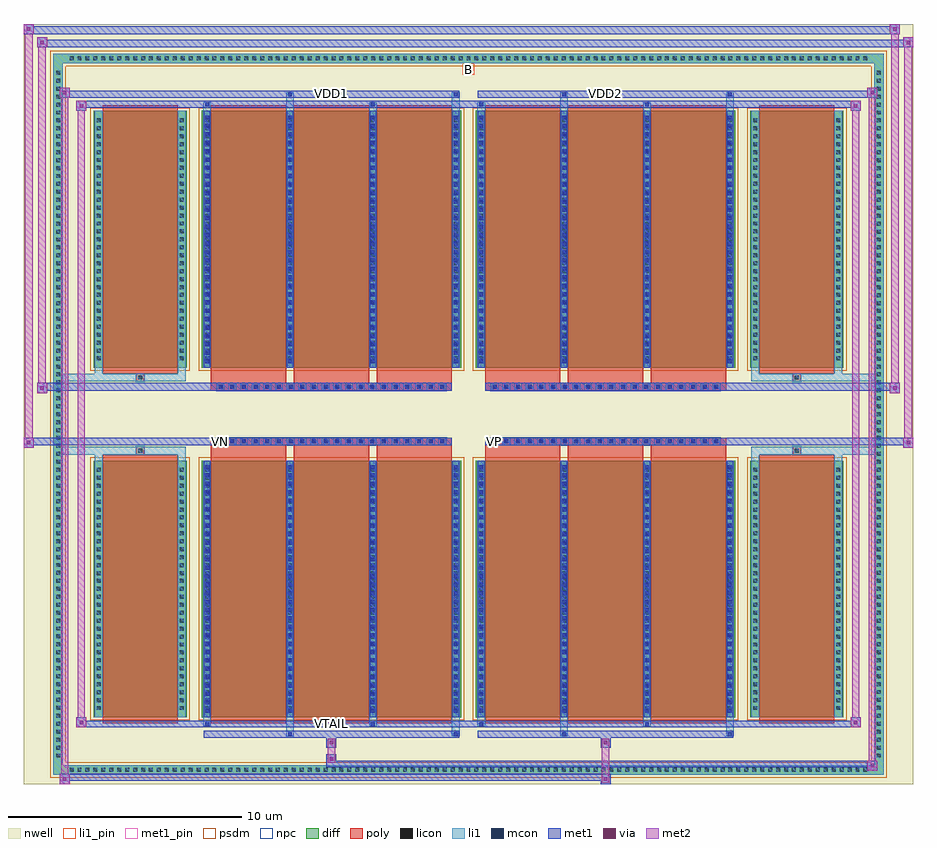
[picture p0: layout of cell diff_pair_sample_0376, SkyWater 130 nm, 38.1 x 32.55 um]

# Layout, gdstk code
import gdstk
lib = gdstk.Library(unit=1e-6, precision=5e-09)
def R(c, l, rs):  # rectangles x0, y0, x1, y1
    for r in rs: c.add(gdstk.rectangle(r[:2], r[2:], *l))
def A(c, l, x, y, w, h, nx, ny, dx, dy):  # array of equal rectangles
    R(c, l, [(x+i*dx, y+j*dy, x+i*dx+w, y+j*dy+h) for i in range(nx) for j in range(ny)])
def P(c, l, *ps):  # polygons
    for p in ps: c.add(gdstk.Polygon(p, *l))
nwell = (64, 20)
diff = (65, 20)
poly = (66, 20)
licon = (66, 44)
li1_pin = (67, 16)
li1 = (67, 20)
mcon = (67, 44)
met1_pin = (68, 16)
met1 = (68, 20)
via = (68, 44)
met2 = (69, 20)
psdm = (94, 20)
npc = (95, 20)

diff_pair_sample_0376 = lib.new_cell('diff_pair_sample_0376')
R(diff_pair_sample_0376, nwell, [(-19.05,-15.84,19.05,16.71), (-16.37,-14.03,-0.01,-0.805), (0.01,-14.03,16.37,-0.805), (-16.37,0.805,-0.01,14.03), (0.01,0.805,16.37,14.03)])
A(diff_pair_sample_0376, diff, -17.205, -15.44, 0.41, 0.41, 101, 2, 0.34, 30.47)
A(diff_pair_sample_0376, diff, -17.78, -14.825, 0.41, 0.41, 1, 87, 0, 0.34)
A(diff_pair_sample_0376, diff, 17.37, -14.825, 0.41, 0.41, 1, 87, 0, 0.34)
R(diff_pair_sample_0376, diff, [(-17.205,-15.44,17.205,-15.03), (-17.78,-14.825,-17.37,14.825), (17.37,-14.825,17.78,14.825), (-16.06,-12.985,-12.06,-1.985), (-11.42,-12.985,-0.32,-1.985), (0.32,-12.985,11.42,-1.985), (12.06,-12.985,16.06,-1.985), (-16.06,1.985,-12.06,12.985), (-11.42,1.985,-0.32,12.985), (0.32,1.985,11.42,12.985), (12.06,1.985,16.06,12.985), (-17.205,15.03,17.205,15.44)])
P(diff_pair_sample_0376, diff, [(17.78,15.44),(-17.78,15.44),(-17.78,-15.03),(-17.37,-15.03),(-17.37,15.03),(17.37,15.03),(17.37,-15.03),(-17.37,-15.03),(-17.78,-15.03),(-17.78,-15.44),(17.78,-15.44)])
A(diff_pair_sample_0376, poly, -11.03, -13.235, 3.22, 11.5, 3, 2, 3.55, 14.97)
A(diff_pair_sample_0376, poly, 0.71, -13.235, 3.22, 11.5, 3, 2, 3.55, 14.97)
A(diff_pair_sample_0376, poly, -11.03, -1.735, 3.22, 0.4, 3, 2, 3.55, 3.07)
A(diff_pair_sample_0376, poly, 0.71, -1.735, 3.22, 0.4, 3, 2, 3.55, 3.07)
A(diff_pair_sample_0376, poly, -10.785, -1.335, 0.33, 0.33, 20, 2, 0.5, 2.34)
A(diff_pair_sample_0376, poly, 0.955, -1.335, 0.33, 0.33, 20, 2, 0.5, 2.34)
R(diff_pair_sample_0376, poly, [(-15.67,-13.235,-12.45,-1.735), (12.45,-13.235,15.67,-1.735), (-14.225,-1.735,-13.895,-1.405), (-14.225,-1.735,-13.895,-1.405), (13.895,-1.735,14.225,-1.405), (13.895,-1.735,14.225,-1.405), (-11.03,-1.335,-0.71,-1.005), (0.71,-1.335,11.03,-1.005), (-11.03,1.005,-0.71,1.335), (0.71,1.005,11.03,1.335), (-14.225,1.405,-13.895,1.735), (-14.225,1.405,-13.895,1.735), (13.895,1.405,14.225,1.735), (13.895,1.405,14.225,1.735), (-15.67,1.735,-12.45,13.235), (12.45,1.735,15.67,13.235)])
A(diff_pair_sample_0376, licon, -17.085, -15.32, 0.17, 0.17, 101, 2, 0.34, 30.47)
A(diff_pair_sample_0376, licon, -17.66, -14.705, 0.17, 0.17, 1, 87, 0, 0.34)
A(diff_pair_sample_0376, licon, 17.49, -14.705, 0.17, 0.17, 1, 87, 0, 0.34)
A(diff_pair_sample_0376, licon, -15.92, -12.67, 0.17, 0.17, 1, 31, 0, 0.34)
A(diff_pair_sample_0376, licon, -12.37, -12.67, 0.17, 0.17, 1, 31, 0, 0.34)
A(diff_pair_sample_0376, licon, -11.28, -12.67, 0.17, 0.17, 4, 31, 3.55, 0.34)
A(diff_pair_sample_0376, licon, 0.46, -12.67, 0.17, 0.17, 4, 31, 3.55, 0.34)
A(diff_pair_sample_0376, licon, 12.2, -12.67, 0.17, 0.17, 1, 31, 0, 0.34)
A(diff_pair_sample_0376, licon, 15.75, -12.67, 0.17, 0.17, 1, 31, 0, 0.34)
A(diff_pair_sample_0376, licon, -10.705, -1.255, 0.17, 0.17, 20, 2, 0.5, 2.34)
A(diff_pair_sample_0376, licon, 1.035, -1.255, 0.17, 0.17, 20, 2, 0.5, 2.34)
A(diff_pair_sample_0376, licon, -15.92, 2.3, 0.17, 0.17, 1, 31, 0, 0.34)
A(diff_pair_sample_0376, licon, -12.37, 2.3, 0.17, 0.17, 1, 31, 0, 0.34)
A(diff_pair_sample_0376, licon, -11.28, 2.3, 0.17, 0.17, 4, 31, 3.55, 0.34)
A(diff_pair_sample_0376, licon, 0.46, 2.3, 0.17, 0.17, 4, 31, 3.55, 0.34)
A(diff_pair_sample_0376, licon, 12.2, 2.3, 0.17, 0.17, 1, 31, 0, 0.34)
A(diff_pair_sample_0376, licon, 15.75, 2.3, 0.17, 0.17, 1, 31, 0, 0.34)
R(diff_pair_sample_0376, licon, [(-14.145,-1.655,-13.975,-1.485), (13.975,-1.655,14.145,-1.485), (-14.145,1.485,-13.975,1.655), (13.975,1.485,14.145,1.655)])
R(diff_pair_sample_0376, li1_pin, [(-0.25,14.53,0.25,15.03)])
A(diff_pair_sample_0376, li1, -17.165, -15.4, 0.33, 0.33, 101, 2, 0.34, 30.47)
A(diff_pair_sample_0376, li1, -17.74, -14.785, 0.33, 0.33, 1, 87, 0, 0.34)
A(diff_pair_sample_0376, li1, 17.41, -14.785, 0.33, 0.33, 1, 87, 0, 0.34)
A(diff_pair_sample_0376, li1, -11.36, -12.985, 0.33, 11, 4, 2, 3.55, 14.97)
A(diff_pair_sample_0376, li1, 0.38, -12.985, 0.33, 11, 4, 2, 3.55, 14.97)
A(diff_pair_sample_0376, li1, -11.28, -12.79, 0.17, 0.17, 4, 30, 3.55, 0.36)
A(diff_pair_sample_0376, li1, -11.28, -12.79, 0.17, 10.61, 4, 2, 3.55, 14.97)
A(diff_pair_sample_0376, li1, 0.46, -12.79, 0.17, 0.17, 4, 30, 3.55, 0.36)
A(diff_pair_sample_0376, li1, 0.46, -12.79, 0.17, 10.61, 4, 2, 3.55, 14.97)
A(diff_pair_sample_0376, li1, -16, -12.75, 0.33, 0.33, 1, 31, 0, 0.34)
A(diff_pair_sample_0376, li1, -12.45, -12.75, 0.33, 0.33, 1, 31, 0, 0.34)
A(diff_pair_sample_0376, li1, -11.36, -12.75, 0.33, 0.33, 4, 31, 3.55, 0.34)
A(diff_pair_sample_0376, li1, 0.38, -12.75, 0.33, 0.33, 4, 31, 3.55, 0.34)
A(diff_pair_sample_0376, li1, 12.12, -12.75, 0.33, 0.33, 1, 31, 0, 0.34)
A(diff_pair_sample_0376, li1, 15.67, -12.75, 0.33, 0.33, 1, 31, 0, 0.34)
A(diff_pair_sample_0376, li1, -10.785, -1.335, 0.33, 0.33, 20, 2, 0.5, 2.34)
A(diff_pair_sample_0376, li1, 0.955, -1.335, 0.33, 0.33, 20, 2, 0.5, 2.34)
A(diff_pair_sample_0376, li1, -11.28, 2.18, 0.17, 0.17, 4, 30, 3.55, 0.36)
A(diff_pair_sample_0376, li1, 0.46, 2.18, 0.17, 0.17, 4, 30, 3.55, 0.36)
A(diff_pair_sample_0376, li1, -16, 2.22, 0.33, 0.33, 1, 31, 0, 0.34)
A(diff_pair_sample_0376, li1, -12.45, 2.22, 0.33, 0.33, 1, 31, 0, 0.34)
A(diff_pair_sample_0376, li1, -11.36, 2.22, 0.33, 0.33, 4, 31, 3.55, 0.34)
A(diff_pair_sample_0376, li1, 0.38, 2.22, 0.33, 0.33, 4, 31, 3.55, 0.34)
A(diff_pair_sample_0376, li1, 12.12, 2.22, 0.33, 0.33, 1, 31, 0, 0.34)
A(diff_pair_sample_0376, li1, 15.67, 2.22, 0.33, 0.33, 1, 31, 0, 0.34)
R(diff_pair_sample_0376, li1, [(-17.78,-15.44,-17.37,-15.03), (-17.78,-15.44,-17.37,-15.03), (-17.37,-15.44,17.37,-15.03), (17.37,-15.44,17.78,-15.03), (17.37,-15.44,17.78,-15.03), (-17.78,-15.03,-17.37,15.03), (17.37,-15.03,17.78,15.03), (-7.81,-13.79,-7.48,-12.985), (-7.73,-13.79,-7.56,-13.62), (-0.71,-13.79,-0.38,-12.985), (-0.63,-13.79,-0.46,-13.62), (3.93,-13.79,4.26,-12.985), (4.01,-13.79,4.18,-13.62), (11.03,-13.79,11.36,-12.985), (11.11,-13.79,11.28,-13.62), (-11.36,-13.36,-11.03,-12.985), (-11.28,-13.36,-11.11,-13.19), (-4.26,-13.36,-3.93,-12.985), (-4.18,-13.36,-4.01,-13.19), (0.38,-13.36,0.71,-12.985), (0.46,-13.36,0.63,-13.19), (7.48,-13.36,7.81,-12.985), (7.56,-13.36,7.73,-13.19), (-16,-12.985,-15.67,-1.985), (-12.45,-12.985,-12.12,-1.985), (12.12,-12.985,12.45,-1.985), (15.67,-12.985,16,-1.985), (-16,-1.985,-15.67,-1.405), (-12.45,-1.985,-12.12,-1.405), (12.12,-1.985,12.45,-1.405), (15.67,-1.985,16,-1.405), (-17.78,-1.735,-14.225,-1.405), (-16,-1.735,-14.225,-1.405), (-14.225,-1.735,-13.895,-1.405), (-13.895,-1.735,-12.12,-1.405), (12.12,-1.735,13.895,-1.405), (13.895,-1.735,14.225,-1.405), (13.895,-1.735,17.78,-1.405), (14.225,-1.735,16,-1.405), (-17.78,1.405,-14.225,1.735), (-16,1.405,-14.225,1.735), (-16,1.405,-15.67,1.985), (-14.225,1.405,-13.895,1.735), (-13.895,1.405,-12.12,1.735), (-12.45,1.405,-12.12,1.985), (12.12,1.405,13.895,1.735), (12.12,1.405,12.45,1.985), (13.895,1.405,14.225,1.735), (13.895,1.405,17.78,1.735), (14.225,1.405,16,1.735), (15.67,1.405,16,1.985), (-16,1.985,-15.67,12.985), (-12.45,1.985,-12.12,12.985), (12.12,1.985,12.45,12.985), (15.67,1.985,16,12.985), (-11.36,12.985,-11.03,13.36), (-7.81,12.985,-7.48,13.79), (-4.26,12.985,-3.93,13.36), (-0.71,12.985,-0.38,13.79), (0.38,12.985,0.71,13.36), (3.93,12.985,4.26,13.79), (7.48,12.985,7.81,13.36), (11.03,12.985,11.36,13.79), (-11.28,13.19,-11.11,13.36), (-4.18,13.19,-4.01,13.36), (0.46,13.19,0.63,13.36), (7.56,13.19,7.73,13.36), (-7.73,13.62,-7.56,13.79), (-0.63,13.62,-0.46,13.79), (4.01,13.62,4.18,13.79), (11.11,13.62,11.28,13.79), (-17.78,15.03,-17.37,15.44), (-17.78,15.03,-17.37,15.44), (-17.37,15.03,17.37,15.44), (17.37,15.03,17.78,15.44), (17.37,15.03,17.78,15.44)])
A(diff_pair_sample_0376, mcon, -11.28, -12.79, 0.17, 0.17, 4, 30, 3.55, 0.36)
A(diff_pair_sample_0376, mcon, 0.46, -12.79, 0.17, 0.17, 4, 30, 3.55, 0.36)
A(diff_pair_sample_0376, mcon, -10.705, -1.255, 0.17, 0.17, 20, 2, 0.5, 2.34)
A(diff_pair_sample_0376, mcon, 1.035, -1.255, 0.17, 0.17, 20, 2, 0.5, 2.34)
A(diff_pair_sample_0376, mcon, -11.28, 2.18, 0.17, 0.17, 4, 30, 3.55, 0.36)
A(diff_pair_sample_0376, mcon, 0.46, 2.18, 0.17, 0.17, 4, 30, 3.55, 0.36)
R(diff_pair_sample_0376, mcon, [(-7.73,-13.79,-7.56,-13.62), (-0.63,-13.79,-0.46,-13.62), (4.01,-13.79,4.18,-13.62), (11.11,-13.79,11.28,-13.62), (-11.28,-13.36,-11.11,-13.19), (-4.18,-13.36,-4.01,-13.19), (0.46,-13.36,0.63,-13.19), (7.56,-13.36,7.73,-13.19), (-11.28,13.19,-11.11,13.36), (-4.18,13.19,-4.01,13.36), (0.46,13.19,0.63,13.36), (7.56,13.19,7.73,13.36), (-7.73,13.62,-7.56,13.79), (-0.63,13.62,-0.46,13.79), (4.01,13.62,4.18,13.79), (11.11,13.62,11.28,13.79)])
R(diff_pair_sample_0376, met1_pin, [(-6.005,-13.4,-5.735,-13.13), (-10.755,-1.295,-10.485,-1.025), (0.985,-1.295,1.255,-1.025), (-6.005,13.58,-5.735,13.85), (5.735,13.58,6.005,13.85)])
A(diff_pair_sample_0376, met1, -11.34, -12.985, 0.29, 11, 4, 2, 3.55, 14.97)
A(diff_pair_sample_0376, met1, 0.4, -12.985, 0.29, 11, 4, 2, 3.55, 14.97)
A(diff_pair_sample_0376, met1, -11.34, -12.85, 0.29, 0.29, 4, 30, 3.55, 0.36)
A(diff_pair_sample_0376, met1, 0.4, -12.85, 0.29, 0.29, 4, 30, 3.55, 0.36)
A(diff_pair_sample_0376, met1, -10.765, -1.315, 0.29, 0.29, 20, 2, 0.5, 2.34)
A(diff_pair_sample_0376, met1, 0.975, -1.315, 0.29, 0.29, 20, 2, 0.5, 2.34)
A(diff_pair_sample_0376, met1, -11.34, 2.12, 0.29, 0.29, 4, 30, 3.55, 0.36)
A(diff_pair_sample_0376, met1, 0.4, 2.12, 0.29, 0.29, 4, 30, 3.55, 0.36)
R(diff_pair_sample_0376, met1, [(-17.51,-15.84,-17.08,-15.41), (5.655,-15.84,6.085,-15.41), (-17.51,-15.7,6.085,-15.41), (17.08,-15.27,17.51,-14.84), (-6.085,-15.13,17.51,-14.84), (-6.085,-14.99,-5.655,-14.56), (-6.085,-14.28,-5.655,-13.85), (5.655,-14.28,6.085,-13.85), (-11.34,-13.85,-0.4,-13.56), (-7.79,-13.85,-7.5,-13.56), (-0.69,-13.85,-0.4,-13.56), (0.4,-13.85,11.34,-13.56), (3.95,-13.85,4.24,-13.56), (11.05,-13.85,11.34,-13.56), (-16.8,-13.42,-16.37,-12.99), (-16.8,-13.42,-11.34,-13.13), (-11.34,-13.42,-11.05,-13.13), (-11.34,-13.42,-0.4,-13.13), (-4.24,-13.42,-3.95,-13.13), (-0.4,-13.42,0.4,-13.13), (0.4,-13.42,0.69,-13.13), (0.4,-13.42,11.34,-13.13), (7.5,-13.42,7.79,-13.13), (11.34,-13.42,16.8,-13.13), (16.37,-13.42,16.8,-12.99), (-19.05,-1.435,-18.62,-1.005), (18.62,-1.435,19.05,-1.005), (-19.05,-1.335,-0.71,-1.005), (-11.03,-1.335,-0.71,-1.005), (0.71,-1.335,11.03,-1.005), (0.71,-1.335,19.05,-1.005), (-18.48,0.905,-18.05,1.335), (18.05,0.905,18.48,1.335), (-18.48,1.005,-11.03,1.335), (-11.03,1.005,-0.71,1.335), (0.71,1.005,11.03,1.335), (11.03,1.005,18.48,1.335), (-16.8,12.99,-16.37,13.42), (16.37,12.99,16.8,13.42), (-16.8,13.13,-11.34,13.42), (-11.34,13.13,-11.05,13.42), (-11.34,13.13,-0.4,13.42), (-4.24,13.13,-3.95,13.42), (-0.4,13.13,0.4,13.42), (0.4,13.13,0.69,13.42), (0.4,13.13,11.34,13.42), (7.5,13.13,7.79,13.42), (11.34,13.13,16.8,13.42), (-17.51,13.56,-17.08,13.99), (-17.51,13.56,-11.34,13.85), (-11.34,13.56,-0.4,13.85), (-7.79,13.56,-7.5,13.85), (-0.69,13.56,-0.4,13.85), (0.4,13.56,11.34,13.85), (3.95,13.56,4.24,13.85), (11.05,13.56,11.34,13.85), (11.34,13.56,17.51,13.85), (17.08,13.56,17.51,13.99), (-18.48,15.71,-18.05,16.14), (-18.48,15.71,-16.37,16.04), (-16.37,15.71,16.37,16.04), (16.37,15.71,19.05,16.04), (18.62,15.71,19.05,16.14), (-19.05,16.28,-18.62,16.71), (-19.05,16.28,-16.37,16.61), (-16.37,16.28,16.37,16.61), (16.37,16.28,18.48,16.61), (18.05,16.28,18.48,16.71)])
R(diff_pair_sample_0376, via, [(-17.37,-15.7,-17.22,-15.55), (5.795,-15.7,5.945,-15.55), (17.22,-15.13,17.37,-14.98), (-5.945,-14.85,-5.795,-14.7), (-5.945,-14.14,-5.795,-13.99), (5.795,-14.14,5.945,-13.99), (-16.66,-13.28,-16.51,-13.13), (16.51,-13.28,16.66,-13.13), (-18.91,-1.295,-18.76,-1.145), (18.76,-1.295,18.91,-1.145), (-18.34,1.045,-18.19,1.195), (18.19,1.045,18.34,1.195), (-16.66,13.13,-16.51,13.28), (16.51,13.13,16.66,13.28), (-17.37,13.7,-17.22,13.85), (17.22,13.7,17.37,13.85), (-18.34,15.85,-18.19,16), (18.76,15.85,18.91,16), (-18.91,16.42,-18.76,16.57), (18.19,16.42,18.34,16.57)])
R(diff_pair_sample_0376, met2, [(-17.51,-15.84,-17.08,-15.41), (-17.44,-15.84,-17.15,13.99), (-17.15,-15.84,-17.08,-15.41), (-17.46,-15.79,-17.13,-15.46), (5.705,-15.79,6.035,-15.46), (5.705,-15.46,6.035,-14.23), (17.08,-15.27,17.51,-14.84), (17.15,-15.27,17.44,13.99), (17.44,-15.27,17.51,-14.84), (17.13,-15.22,17.46,-14.89), (-6.035,-14.94,-5.705,-14.61), (-6.035,-14.61,-5.705,-14.23), (-6.035,-14.23,-5.705,-13.9), (5.705,-14.23,6.035,-13.9), (-16.8,-13.42,-16.37,-12.99), (-16.73,-13.42,-16.44,13.42), (-16.44,-13.42,-16.37,-12.99), (16.37,-13.42,16.8,-12.99), (16.44,-13.42,16.73,13.42), (16.73,-13.42,16.8,-12.99), (-16.75,-13.37,-16.42,-13.04), (16.42,-13.37,16.75,-13.04), (-19.05,-1.435,-18.62,-1.005), (-19,-1.435,-18.67,16.71), (-18.67,-1.435,-18.62,-1.005), (18.62,-1.435,19.05,-1.005), (18.67,-1.435,19,16.14), (19,-1.435,19.05,-1.005), (-19,-1.385,-18.67,-1.055), (18.67,-1.385,19,-1.055), (-18.48,0.905,-18.05,1.335), (-18.43,0.905,-18.1,16.14), (-18.1,0.905,-18.05,1.335), (18.05,0.905,18.48,1.335), (18.1,0.905,18.43,16.71), (18.43,0.905,18.48,1.335), (-18.43,0.955,-18.1,1.285), (18.1,0.955,18.43,1.285), (-16.8,12.99,-16.37,13.42), (-16.44,12.99,-16.37,13.42), (16.37,12.99,16.8,13.42), (16.73,12.99,16.8,13.42), (-16.75,13.04,-16.42,13.37), (16.42,13.04,16.75,13.37), (-17.51,13.56,-17.08,13.99), (-17.15,13.56,-17.08,13.99), (17.08,13.56,17.51,13.99), (17.44,13.56,17.51,13.99), (-17.46,13.61,-17.13,13.94), (17.13,13.61,17.46,13.94), (-18.48,15.71,-18.05,16.14), (-18.1,15.71,-18.05,16.14), (18.62,15.71,19.05,16.14), (19,15.71,19.05,16.14), (-18.43,15.76,-18.1,16.09), (18.67,15.76,19,16.09), (-19.05,16.28,-18.62,16.71), (-18.67,16.28,-18.62,16.71), (18.05,16.28,18.48,16.71), (18.43,16.28,18.48,16.71), (-19,16.33,-18.67,16.66), (18.1,16.33,18.43,16.66)])
R(diff_pair_sample_0376, psdm, [(-16.19,-13.115,-11.93,-1.855), (-11.55,-13.115,-0.19,-1.855), (0.19,-13.115,11.55,-1.855), (11.93,-13.115,16.19,-1.855), (-16.19,1.855,-11.93,13.115), (-11.55,1.855,-0.19,13.115), (0.19,1.855,11.55,13.115), (11.93,1.855,16.19,13.115)])
P(diff_pair_sample_0376, psdm, [(17.91,15.57),(-17.91,15.57),(-17.91,-14.9),(-17.24,-14.9),(-17.24,14.9),(17.24,14.9),(17.24,-14.9),(-17.24,-14.9),(-17.91,-14.9),(-17.91,-15.57),(17.91,-15.57)])
A(diff_pair_sample_0376, npc, -10.805, -1.355, 0.37, 0.37, 20, 2, 0.5, 2.34)
A(diff_pair_sample_0376, npc, 0.935, -1.355, 0.37, 0.37, 20, 2, 0.5, 2.34)
R(diff_pair_sample_0376, npc, [(-14.245,-1.755,-13.875,-1.385), (13.875,-1.755,14.245,-1.385), (-10.805,-1.355,-9.935,-0.985), (-10.805,-1.355,-9.935,-0.985), (-10.305,-1.355,-9.435,-0.985), (-10.305,-1.355,-9.435,-0.985), (-9.805,-1.355,-8.935,-0.985), (-9.805,-1.355,-8.935,-0.985), (-9.305,-1.355,-8.435,-0.985), (-9.305,-1.355,-8.435,-0.985), (-8.805,-1.355,-7.935,-0.985), (-8.805,-1.355,-7.935,-0.985), (-8.305,-1.355,-7.435,-0.985), (-8.305,-1.355,-7.435,-0.985), (-7.805,-1.355,-6.935,-0.985), (-7.805,-1.355,-6.935,-0.985), (-7.305,-1.355,-6.435,-0.985), (-7.305,-1.355,-6.435,-0.985), (-6.805,-1.355,-5.935,-0.985), (-6.805,-1.355,-5.935,-0.985), (-6.305,-1.355,-5.435,-0.985), (-6.305,-1.355,-5.435,-0.985), (-5.805,-1.355,-4.935,-0.985), (-5.805,-1.355,-4.935,-0.985), (-5.305,-1.355,-4.435,-0.985), (-5.305,-1.355,-4.435,-0.985), (-4.805,-1.355,-3.935,-0.985), (-4.805,-1.355,-3.935,-0.985), (-4.305,-1.355,-3.435,-0.985), (-4.305,-1.355,-3.435,-0.985), (-3.805,-1.355,-2.935,-0.985), (-3.805,-1.355,-2.935,-0.985), (-3.305,-1.355,-2.435,-0.985), (-3.305,-1.355,-2.435,-0.985), (-2.805,-1.355,-1.935,-0.985), (-2.805,-1.355,-1.935,-0.985), (-2.305,-1.355,-1.435,-0.985), (-2.305,-1.355,-1.435,-0.985), (-1.805,-1.355,-0.935,-0.985), (-1.805,-1.355,-0.935,-0.985), (0.935,-1.355,1.805,-0.985), (0.935,-1.355,1.805,-0.985), (1.435,-1.355,2.305,-0.985), (1.435,-1.355,2.305,-0.985), (1.935,-1.355,2.805,-0.985), (1.935,-1.355,2.805,-0.985), (2.435,-1.355,3.305,-0.985), (2.435,-1.355,3.305,-0.985), (2.935,-1.355,3.805,-0.985), (2.935,-1.355,3.805,-0.985), (3.435,-1.355,4.305,-0.985), (3.435,-1.355,4.305,-0.985), (3.935,-1.355,4.805,-0.985), (3.935,-1.355,4.805,-0.985), (4.435,-1.355,5.305,-0.985), (4.435,-1.355,5.305,-0.985), (4.935,-1.355,5.805,-0.985), (4.935,-1.355,5.805,-0.985), (5.435,-1.355,6.305,-0.985), (5.435,-1.355,6.305,-0.985), (5.935,-1.355,6.805,-0.985), (5.935,-1.355,6.805,-0.985), (6.435,-1.355,7.305,-0.985), (6.435,-1.355,7.305,-0.985), (6.935,-1.355,7.805,-0.985), (6.935,-1.355,7.805,-0.985), (7.435,-1.355,8.305,-0.985), (7.435,-1.355,8.305,-0.985), (7.935,-1.355,8.805,-0.985), (7.935,-1.355,8.805,-0.985), (8.435,-1.355,9.305,-0.985), (8.435,-1.355,9.305,-0.985), (8.935,-1.355,9.805,-0.985), (8.935,-1.355,9.805,-0.985), (9.435,-1.355,10.305,-0.985), (9.435,-1.355,10.305,-0.985), (9.935,-1.355,10.805,-0.985), (9.935,-1.355,10.805,-0.985), (-10.805,0.985,-9.935,1.355), (-10.805,0.985,-9.935,1.355), (-10.305,0.985,-9.435,1.355), (-10.305,0.985,-9.435,1.355), (-9.805,0.985,-8.935,1.355), (-9.805,0.985,-8.935,1.355), (-9.305,0.985,-8.435,1.355), (-9.305,0.985,-8.435,1.355), (-8.805,0.985,-7.935,1.355), (-8.805,0.985,-7.935,1.355), (-8.305,0.985,-7.435,1.355), (-8.305,0.985,-7.435,1.355), (-7.805,0.985,-6.935,1.355), (-7.805,0.985,-6.935,1.355), (-7.305,0.985,-6.435,1.355), (-7.305,0.985,-6.435,1.355), (-6.805,0.985,-5.935,1.355), (-6.805,0.985,-5.935,1.355), (-6.305,0.985,-5.435,1.355), (-6.305,0.985,-5.435,1.355), (-5.805,0.985,-4.935,1.355), (-5.805,0.985,-4.935,1.355), (-5.305,0.985,-4.435,1.355), (-5.305,0.985,-4.435,1.355), (-4.805,0.985,-3.935,1.355), (-4.805,0.985,-3.935,1.355), (-4.305,0.985,-3.435,1.355), (-4.305,0.985,-3.435,1.355), (-3.805,0.985,-2.935,1.355), (-3.805,0.985,-2.935,1.355), (-3.305,0.985,-2.435,1.355), (-3.305,0.985,-2.435,1.355), (-2.805,0.985,-1.935,1.355), (-2.805,0.985,-1.935,1.355), (-2.305,0.985,-1.435,1.355), (-2.305,0.985,-1.435,1.355), (-1.805,0.985,-0.935,1.355), (-1.805,0.985,-0.935,1.355), (0.935,0.985,1.805,1.355), (0.935,0.985,1.805,1.355), (1.435,0.985,2.305,1.355), (1.435,0.985,2.305,1.355), (1.935,0.985,2.805,1.355), (1.935,0.985,2.805,1.355), (2.435,0.985,3.305,1.355), (2.435,0.985,3.305,1.355), (2.935,0.985,3.805,1.355), (2.935,0.985,3.805,1.355), (3.435,0.985,4.305,1.355), (3.435,0.985,4.305,1.355), (3.935,0.985,4.805,1.355), (3.935,0.985,4.805,1.355), (4.435,0.985,5.305,1.355), (4.435,0.985,5.305,1.355), (4.935,0.985,5.805,1.355), (4.935,0.985,5.805,1.355), (5.435,0.985,6.305,1.355), (5.435,0.985,6.305,1.355), (5.935,0.985,6.805,1.355), (5.935,0.985,6.805,1.355), (6.435,0.985,7.305,1.355), (6.435,0.985,7.305,1.355), (6.935,0.985,7.805,1.355), (6.935,0.985,7.805,1.355), (7.435,0.985,8.305,1.355), (7.435,0.985,8.305,1.355), (7.935,0.985,8.805,1.355), (7.935,0.985,8.805,1.355), (8.435,0.985,9.305,1.355), (8.435,0.985,9.305,1.355), (8.935,0.985,9.805,1.355), (8.935,0.985,9.805,1.355), (9.435,0.985,10.305,1.355), (9.435,0.985,10.305,1.355), (9.935,0.985,10.805,1.355), (9.935,0.985,10.805,1.355), (-14.245,1.385,-13.875,1.755), (13.875,1.385,14.245,1.755)])
diff_pair_sample_0376.add(gdstk.Label('VTAIL', (-5.87,-13.265), layer=68, texttype=5))
diff_pair_sample_0376.add(gdstk.Label('VN', (-10.62,-1.16), layer=68, texttype=5))
diff_pair_sample_0376.add(gdstk.Label('VP', (1.12,-1.16), layer=68, texttype=5))
diff_pair_sample_0376.add(gdstk.Label('B', (0,14.78), layer=67, texttype=5))
diff_pair_sample_0376.add(gdstk.Label('VDD2', (5.87,13.715), layer=68, texttype=5))
diff_pair_sample_0376.add(gdstk.Label('VDD1', (-5.87,13.715), layer=68, texttype=5))

lib.write_gds('diff_pair_sample_0376.gds')
